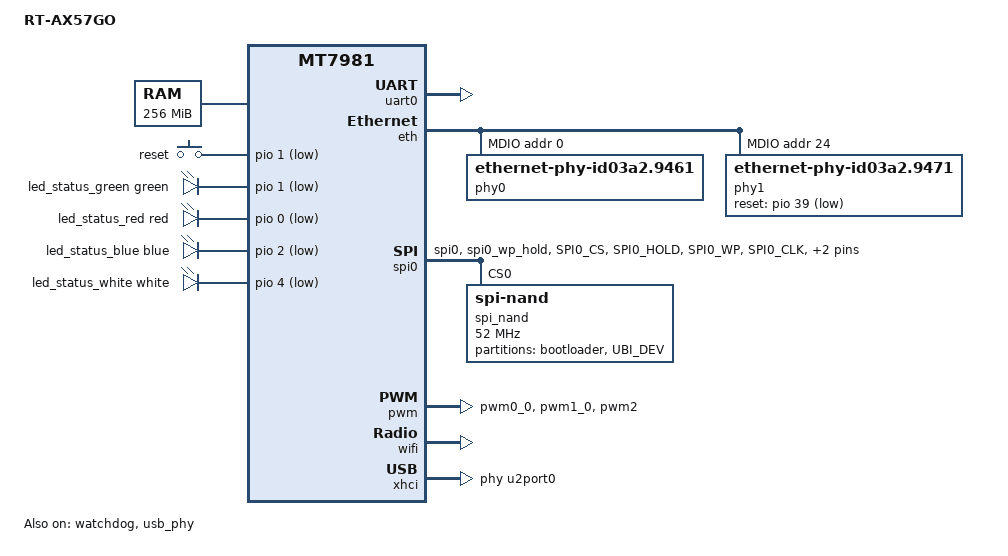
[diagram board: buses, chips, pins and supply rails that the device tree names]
// SPDX-License-Identifier: GPL-2.0-or-later OR MIT

/dts-v1/;
#include "mt7981.dtsi"
/ {
	model = "RT-AX57GO";
	compatible = "asus,rt-ax57go", "mediatek,mt7981";
	

	chosen {
		stdout-path = "serial0:115200n8";
		bootargs-override = "ubi.mtd=UBI_DEV";
	};

	memory {
		// fpga ddr2: 128MB*2
		reg = <0 0x40000000 0 0x10000000>;
	};

	reserved-memory {
		/* 24 KiB reserved for PWM[ch0,ch1,ch2] */
		pwm_reserved: pwmbuf@4C7FA000 {
			reg = <0 0x4C7FA000 0 0x6000>;
			no-map;
		};
	};

	aliases {
		serial0 = &uart0;
		led-boot = &led_status_green;
		led-failsafe = &led_status_red;
		led-running = &led_status_green;
		led-upgrade = &led_status_green;
	};

	timer {
		clock-frequency = <12996791>;
	};

	keys {
		compatible = "gpio-keys";

		reset {
			label = "reset";
			gpios = <&pio 1 GPIO_ACTIVE_LOW>;
			linux,code = <KEY_RESTART>;
		};
	};

	leds {
		compatible = "gpio-leds";

		led_status_green: led-0 {
			color = <LED_COLOR_ID_GREEN>;
			function = LED_FUNCTION_STATUS;
			gpios = <&pio 1 GPIO_ACTIVE_LOW>;
		};

		led_status_red: led-1 {
			color = <LED_COLOR_ID_RED>;
			function = LED_FUNCTION_STATUS;
			gpios = <&pio 0 GPIO_ACTIVE_LOW>;
		};

		led_status_blue: led-2 {
			color = <LED_COLOR_ID_BLUE>;
			function = LED_FUNCTION_STATUS;
			gpios = <&pio 2 GPIO_ACTIVE_LOW>;
		};
		
		led_status_white: led-3 {
			color = <LED_COLOR_ID_WHITE>;
			function = LED_FUNCTION_STATUS;
			gpios = <&pio 4 GPIO_ACTIVE_LOW>;
		};
	};

};

&uart0 {
	status = "okay";
};

&watchdog {
	status = "okay";
};

&eth {
        status = "okay";
	/* lan */
        gmac0: mac@0 {
		compatible = "mediatek,eth-mac";
		reg = <0>;
		phy-mode = "sgmii";
		phy-handle = <&phy1>;
	};
	/* wan */
	gmac1: mac@1 {
                compatible = "mediatek,eth-mac";
                reg = <1>;
		phy-mode = "gmii";
		phy-handle = <&phy0>;
        };

        mdio: mdio-bus {
                #address-cells = <1>;
                #size-cells = <0>;

                phy0: ethernet-phy@0 {
			compatible = "ethernet-phy-id03a2.9461";
			reg = <0>;
			phy-mode = "gmii";
			nvmem-cells = <&phy_calibration>;
			nvmem-cell-names = "phy-cal-data";
                };
		phy1: ethernet-phy@1 {
			compatible = "ethernet-phy-id03a2.9471";
			reg = <24>;
			reset-gpios = <&pio 39 1>;
			reset-assert-us = <600>;
			reset-deassert-us = <20000>;
			phy-mode = "sgmii";
		};
        };
};

&spi0 {
	pinctrl-names = "default";
	pinctrl-0 = <&spi0_flash_pins>;
	status = "okay";
	spi_nand: spi_nand@0 {
		#address-cells = <1>;
		#size-cells = <1>;
		compatible = "spi-nand";
		reg = <0>;
		spi-max-frequency = <52000000>;
		spi-tx-bus-width = <4>;
		spi-rx-bus-width = <4>;
		partitions: partitions {
			compatible = "fixed-partitions";
			#address-cells = <1>;
			#size-cells = <1>;

			partition@0 {
				label = "bootloader";
				reg = <0x0 0x400000>;
				read-only;
			};

			partition@400000 {
				label = "UBI_DEV";
				reg = <0x400000 0x7c00000>;
			};

		};
	};
};

&spi1 {
	pinctrl-names = "default";
	pinctrl-0 = <&spic_pins>;
	status = "disabled";
};

&pio {

	i2c_pins: i2c-pins-g0 {
                mux {
                        function = "i2c";
                        groups = "i2c0_0";
                };
        };

        pcm_pins: pcm-pins-g0 {
                mux {
                        function = "pcm";
                        groups = "pcm";
                };
        };

        pwm0_pin: pwm0-pin-g0 {
                mux {
                        function = "pwm";
                        groups = "pwm0_0";  // GPIO 13
                };
        };

        pwm1_pin: pwm1-pin-g1 {
                mux {
                        function = "pwm";
                        groups = "pwm1_0";  // GPIO 14
                };
        };

        pwm2_pin: pwm2-pin {
                mux {
                        function = "pwm";
                        groups = "pwm2";   // GPIO 7
                };
        };

	spi0_flash_pins: spi0-pins {
		mux {
			function = "spi";
			groups = "spi0", "spi0_wp_hold";
		};

		conf-pu {
			pins = "SPI0_CS", "SPI0_HOLD", "SPI0_WP";
			drive-strength = <MTK_DRIVE_8mA>;
			bias-pull-up = <MTK_PUPD_SET_R1R0_11>;
		};

		conf-pd {
			pins = "SPI0_CLK", "SPI0_MOSI", "SPI0_MISO";
			drive-strength = <MTK_DRIVE_8mA>;
			bias-pull-down = <MTK_PUPD_SET_R1R0_11>;
		};
	};

	spic_pins: spi1-pins {
		mux {
			function = "spi";
			groups = "spi1_1";
		};
	};

	uart1_pins: uart1-pins-g1 {
                mux {
                        function = "uart";
                        groups = "uart1_1";
                };
        };

	uart2_pins: uart2-pins-g1 {
		mux {
                        function = "uart";
                        groups = "uart2_1";
                };
        };
};

&pwm {
	pinctrl-names = "default";
	pinctrl-0 = <&pwm0_pin &pwm1_pin &pwm2_pin>;
	interrupts = <GIC_SPI 137 IRQ_TYPE_LEVEL_HIGH>;
	status = "okay";
};

&watchdog {
	status = "okay";
};

&wifi {
	status = "okay";
};

&xhci {
	mediatek,u3p-dis-msk = <0x0>;
	phys = <&u2port0 PHY_TYPE_USB2>,
	       <&u3port0 PHY_TYPE_USB3>;
	status = "okay";
};

&usb_phy {
	status = "okay";
};
